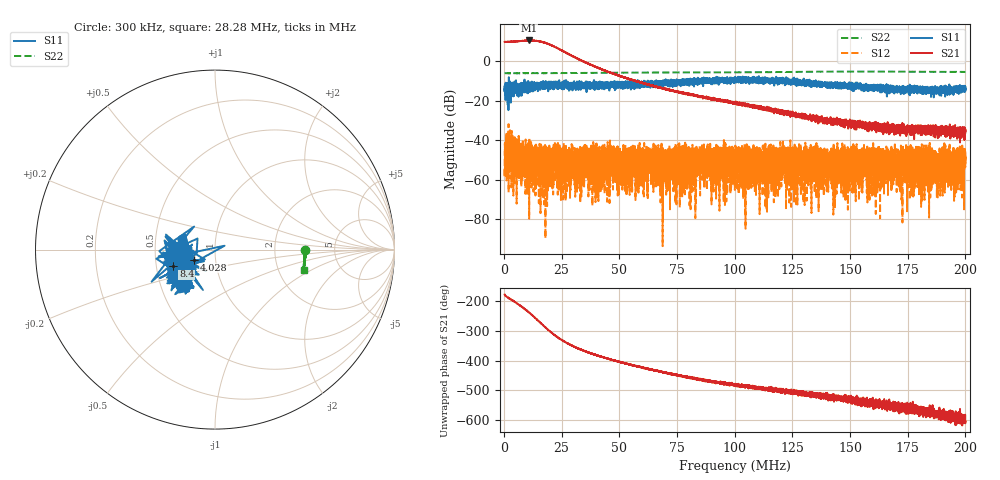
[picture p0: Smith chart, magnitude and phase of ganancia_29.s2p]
# Hz S DB R 50
! CMT, M5065, 19127446, 24.2.4/2
! Date: 11/8/2024 3:00:31 PM
! Data: Format (Calibration Info)
! Freq	S11:dB/Ang(F2)	S21:dB/Ang(F2)	S12:dB/Ang(F2)	S22:dB/Ang(F2)
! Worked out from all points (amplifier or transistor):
!   9000 points, 300 kHz to 200 MHz, reference 50 ohm
!   highest |S21| = 10.6 dB at 10.77 MHz (marker M1)
!   |S21| within 3 dB of that: start of sweep to 21.51 MHz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
!   unconditionally stable (mu >= 1): start of sweep to end of sweep
!   at 33.59 MHz: K = 179.29, MAG = 1.9 dB, |S12| = -54.5 dB
!   at 100.2 MHz: K = 1003.54, MAG = -18.6 dB, |S12| = -49.6 dB
!   at 200 MHz: K = 5884.16, MAG = -34.4 dB, |S12| = -48.8 dB
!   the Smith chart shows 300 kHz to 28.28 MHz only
!   S11 on the Smith chart (normalised r, x): 300 kHz: 0.68, +0.08; 4.028 MHz: 0.79, -0.09; 8.4 MHz: 0.62, -0.12; 28.28 MHz: 0.68, -0.29
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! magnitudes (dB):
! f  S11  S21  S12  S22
! 300 kHz  -14.3  9.9  -54.4  -6.0
! 1.343 MHz  -15.1  9.9  -36.7  -6.0
! 4.028 MHz  -17.8  10.1  -39.5  -6.0
! 8.4 MHz  -12.1  10.4  -48.6  -6.0
! 10.77 MHz  -12.0  10.6  -53.8  -6.0
! 16.48 MHz  -11.9  9.9  -53.8  -5.9
! 28.28 MHz  -12.0  3.6  -59.8  -5.9
! 33.59 MHz  -13.2  0.4  -54.5  -5.9
! 66.87 MHz  -10.9  -13.1  -50.2  -5.6
! 100.2 MHz  -8.4  -20.7  -49.6  -5.6
! 133.4 MHz  -13.0  -30.4  -61.2  -5.3
! 143 MHz  -12.4  -29.6  -51.1  -5.2
! 147.1 MHz  -11.7  -31.2  -56.4  -5.2
! 149 MHz  -14.1  -31.6  -51.2  -5.2
! 150.7 MHz  -13.0  -31.1  -47.1  -5.2
! 158 MHz  -13.3  -34.1  -46.8  -5.2
! 159.5 MHz  -13.0  -34.3  -53.0  -5.2
! 161.5 MHz  -13.0  -34.3  -51.6  -5.2
! 163.5 MHz  -11.8  -33.8  -51.5  -5.2
! 166.7 MHz  -14.0  -35.0  -58.4  -5.2
! 194.3 MHz  -14.6  -34.9  -50.3  -5.4
! 200 MHz  -13.0  -36.1  -48.8  -5.3
